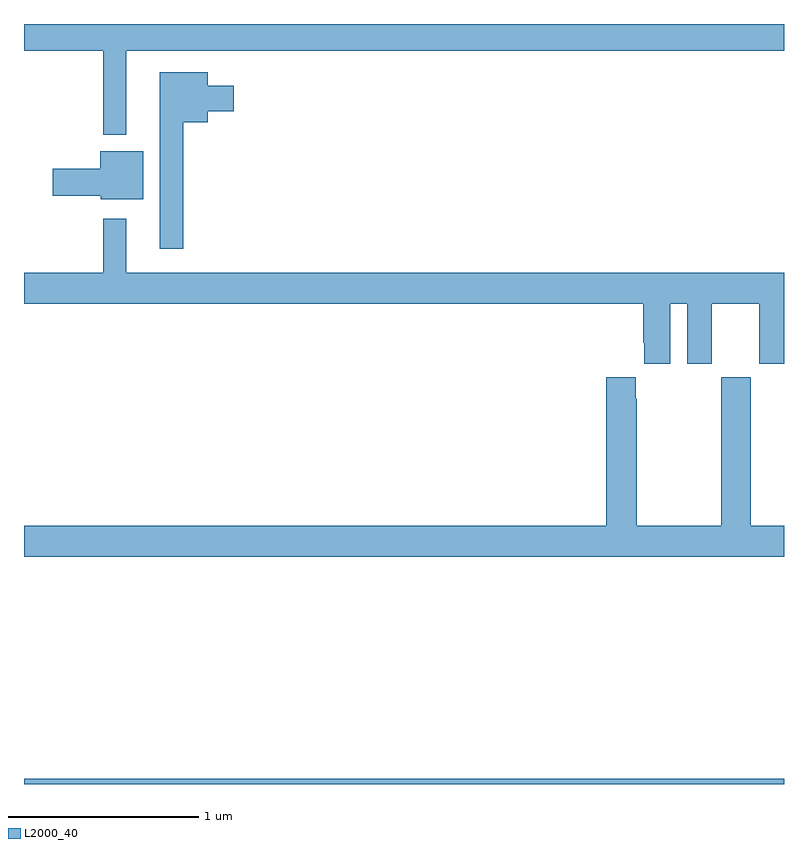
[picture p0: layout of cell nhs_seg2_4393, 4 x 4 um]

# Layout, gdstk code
import gdstk
lib = gdstk.Library(unit=1e-6, precision=1e-09)
def R(c, l, rs):  # rectangles x0, y0, x1, y1
    for r in rs: c.add(gdstk.rectangle(r[:2], r[2:], *l))
def P(c, l, *ps):  # polygons
    for p in ps: c.add(gdstk.Polygon(p, *l))
L2000_40 = (2000, 40)

nhs_seg2_4393 = lib.new_cell('nhs_seg2_4393')
R(nhs_seg2_4393, L2000_40, [(349,619.8,353,619.828)])
P(nhs_seg2_4393, L2000_40, [(349.537,623.66),(353,623.66),(353,623.8),(349,623.8),(349,623.66),(349.416,623.66),(349.416,623.216),(349.537,623.216)],
  [(349.837,623.282),(349.966,623.282),(349.966,623.342),(350.104,623.342),(350.104,623.476),(349.966,623.476),(349.966,623.545),(349.715,623.545),(349.715,622.617),(349.837,622.617)],
  [(349.627,623.131),(349.4,623.131),(349.4,623.039),(349.152,623.039),(349.152,622.897),(349.404,622.897),(349.404,622.877),(349.627,622.877)],
  [(352.402,622.328),(352.49,622.328),(352.49,622.011),(352.621,622.011),(352.621,622.328),(352.871,622.328),(352.871,622.011),(353,622.011),(353,622.492),(349.537,622.492),(349.537,622.774),(349.416,622.774),(349.416,622.492),(349,622.492),(349,622.328),(352.259,622.328),(352.259,622.123),(352.265,622.123),(352.265,622.011),(352.402,622.011)],
  [(353,621.16),(352.824,621.16),(352.824,621.94),(352.669,621.94),(352.669,621.16),(352.224,621.16),(352.224,621.827),(352.219,621.827),(352.219,621.94),(352.064,621.94),(352.064,621.16),(349,621.16),(349,620.996),(353,620.996)])

lib.write_gds('nhs_seg2_4393.gds')
